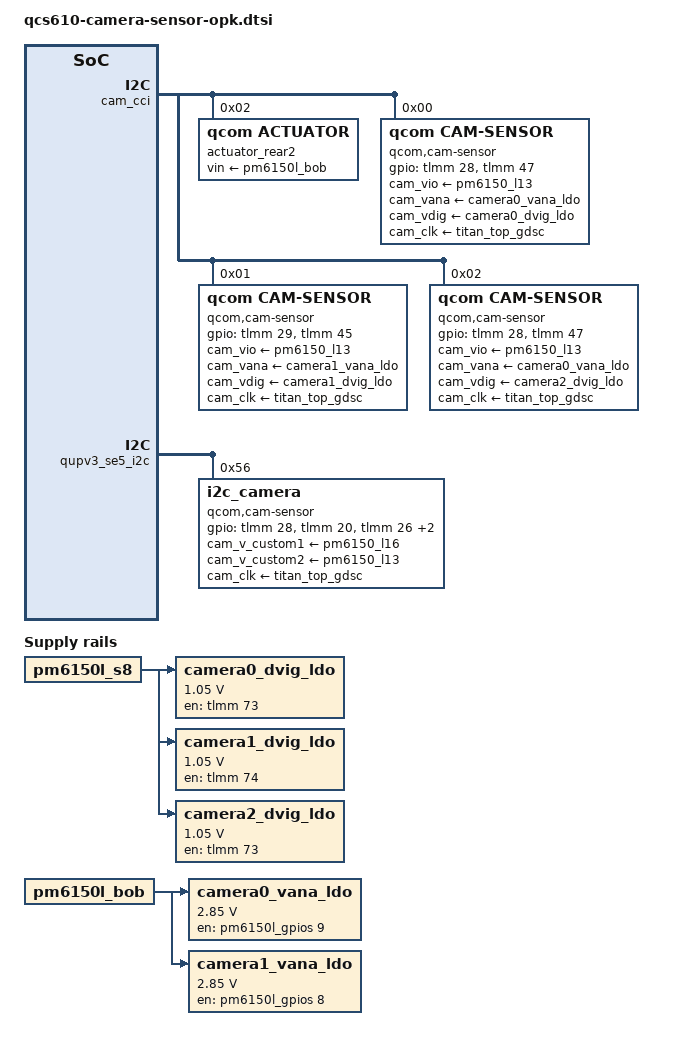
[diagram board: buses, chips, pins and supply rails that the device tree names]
/*
 * Copyright (c) 2021 The Linux Foundation. All rights reserved.
 *
 * This program is free software; you can redistribute it and/or modify
 * it under the terms of the GNU General Public License version 2 and
 * only version 2 as published by the Free Software Foundation.
 *
 * This program is distributed in the hope that it will be useful,
 * but WITHOUT ANY WARRANTY; without even the implied warranty of
 * MERCHANTABILITY or FITNESS FOR A PARTICULAR PURPOSE.  See the
 * GNU General Public License for more details.
 */
&soc {
	camera0_dvig_ldo: gpio-regulator@0 {
		compatible = "regulator-fixed";
		reg = <0x00 0x00>;
		regulator-name = "camera0_dvig_ldo";
		regulator-min-microvolt = <1050000>;
		regulator-max-microvolt = <1050000>;
		regulator-enable-ramp-delay = <233>;
		enable-active-high;
		gpio = <&tlmm 73 0>;
		vin-supply = <&pm6150l_s8>;
	};

	camera0_vana_ldo: gpio-regulator@1 {
		compatible = "regulator-fixed";
		reg = <0x01 0x00>;
		regulator-name = "camera0_vana_ldo";
		regulator-min-microvolt = <2850000>;
		regulator-max-microvolt = <2850000>;
		regulator-enable-ramp-delay = <233>;
		enable-active-high;
		gpio = <&pm6150l_gpios 9 0>;
		pinctrl-names = "default";
		pinctrl-0 = <&cam_sensor_0_vana>;
		vin-supply = <&pm6150l_bob>;
	};

	camera1_dvig_ldo: gpio-regulator@2 {
		compatible = "regulator-fixed";
		reg = <0x02 0x00>;
		regulator-name = "camera1_dvig_ldo";
		regulator-min-microvolt = <1050000>;
		regulator-max-microvolt = <1050000>;
		regulator-enable-ramp-delay = <233>;
		enable-active-high;
		gpio = <&tlmm 74 0>;
		vin-supply = <&pm6150l_s8>;
	};

	camera1_vana_ldo: gpio-regulator@3 {
		compatible = "regulator-fixed";
		reg = <0x03 0x00>;
		regulator-name = "camera1_vana_ldo";
		regulator-min-microvolt = <2850000>;
		regulator-max-microvolt = <2850000>;
		regulator-enable-ramp-delay = <233>;
		enable-active-high;
		gpio = <&pm6150l_gpios 8 0>;
		pinctrl-names = "default";
		pinctrl-0 = <&cam_sensor_1_vana>;
		vin-supply = <&pm6150l_bob>;
	};
	camera2_dvig_ldo: gpio-regulator@4 {
		compatible = "regulator-fixed";
		reg = <0x04 0x00>;
		regulator-name = "camera2_dvig_ldo";
		regulator-min-microvolt = <1050000>;
		regulator-max-microvolt = <1050000>;
		regulator-enable-ramp-delay = <233>;
		enable-active-high;
		gpio = <&tlmm 73 0>;
		vin-supply = <&pm6150l_s8>;
	};
};

&cam_cci {
	actuator_rear2: actuator@2 {
		cell-index = <2>;
		reg = <0x2>;
		compatible = "qcom,actuator";
		cci-master = <0>;
		regulator-names = "cam_vaf";
		rgltr-cntrl-support;
		rgltr-min-voltage = <3800000>;
		rgltr-max-voltage = <3800000>;
		rgltr-load-current = <100000>;
		vin-supply = <&pm6150l_bob>;
		status = "ok";
	};

	qcom,cam-sensor@0 {
		cell-index = <0>;
		compatible = "qcom,cam-sensor";
		reg = <0x0>;
		csiphy-sd-index = <0>;
		sensor-position-roll = <270>;
		sensor-position-pitch = <0>;
		sensor-position-yaw = <0>;
		cam_vio-supply = <&pm6150_l13>;
		cam_vana-supply = <&camera0_vana_ldo>;
		cam_vdig-supply = <&camera0_dvig_ldo>;
		cam_clk-supply = <&titan_top_gdsc>;
		regulator-names = "cam_vio", "cam_vana", "cam_vdig",
			"cam_clk";
		rgltr-cntrl-support;
		rgltr-min-voltage = <1800000 2850000 1050000 0>;
		rgltr-max-voltage = <1800000 2850000 1050000 0>;
		rgltr-load-current = <0 80000 105000 0>;
		gpio-no-mux = <0>;
		pinctrl-names = "cam_default", "cam_suspend";
		pinctrl-0 = <&cam_sensor_mclk0_active
				&cam_sensor_rear_active>;
		pinctrl-1 = <&cam_sensor_mclk0_suspend
				&cam_sensor_rear_suspend>;
		gpios = <&tlmm 28 0>,
			<&tlmm 47 0>;
		gpio-reset = <1>;
		gpio-req-tbl-num = <0 1>;
		gpio-req-tbl-flags = <1 0>;
		gpio-req-tbl-label = "CAMIF_MCLK0",
					"CAM_RESET0";
		sensor-mode = <0>;
		cci-master = <0>;
		status = "okay";
		clocks = <&clock_camcc CAM_CC_MCLK0_CLK>;
		clock-names = "cam_clk";
		clock-cntl-level = "turbo";
		clock-rates = <24000000>;
	};

	qcom,cam-sensor@1 {
		cell-index = <1>;
		compatible = "qcom,cam-sensor";
		reg = <0x1>;
		csiphy-sd-index = <1>;
		sensor-position-roll = <90>;
		sensor-position-pitch = <90>;
		sensor-position-yaw = <0>;
		cam_vio-supply = <&pm6150_l13>;
		cam_vana-supply = <&camera1_vana_ldo>;
		cam_vdig-supply = <&camera1_dvig_ldo>;
		cam_clk-supply = <&titan_top_gdsc>;
		regulator-names = "cam_vdig", "cam_vio", "cam_vana",
			"cam_clk";
		rgltr-cntrl-support;
		rgltr-min-voltage = <1050000 1800000 2850000 0>;
		rgltr-max-voltage = <1050000 1800000 2850000 0>;
		rgltr-load-current = <105000 0 80000 0>;
		gpio-no-mux = <0>;
		pinctrl-names = "cam_default", "cam_suspend";
		pinctrl-0 = <&cam_sensor_mclk1_active
				&cam_sensor_rear1_active>;
		pinctrl-1 = <&cam_sensor_mclk1_suspend
				&cam_sensor_rear1_suspend>;
		gpios = <&tlmm 29 0>,
			<&tlmm 45 0>;
		gpio-reset = <1>;
		gpio-req-tbl-num = <0 1>;
		gpio-req-tbl-flags = <1 0>;
		gpio-req-tbl-label = "CAMIF_MCLK1",
					"CAM_RESET1";
		sensor-mode = <1>;
		cci-master = <1>;
		status = "okay";
		clocks = <&clock_camcc CAM_CC_MCLK1_CLK>;
		clock-names = "cam_clk";
		clock-cntl-level = "turbo";
		clock-rates = <24000000>;
	};

	qcom,cam-sensor@2 {
		cell-index = <2>;
		compatible = "qcom,cam-sensor";
		reg = <0x2>;
		csiphy-sd-index = <0>;
		sensor-position-roll = <90>;
		sensor-position-pitch = <0>;
		sensor-position-yaw = <180>;
		actuator-src = <&actuator_rear2>;
		cam_vio-supply = <&pm6150_l13>;
		cam_vana-supply = <&camera0_vana_ldo>;
		cam_vdig-supply = <&camera2_dvig_ldo>;
		cam_clk-supply = <&titan_top_gdsc>;
		regulator-names = "cam_vio", "cam_vana", "cam_vdig",
			"cam_clk";
		rgltr-cntrl-support;
		rgltr-min-voltage = <1800000 2850000 1050000 0>;
		rgltr-max-voltage = <1800000 2850000 1050000 0>;
		rgltr-load-current = <0 80000 105000 0>;
		gpio-no-mux = <0>;
		pinctrl-names = "cam_default", "cam_suspend";
		pinctrl-0 = <&cam_sensor_mclk2_active
				&cam_sensor_rear2_active>;
		pinctrl-1 = <&cam_sensor_mclk2_suspend
				&cam_sensor_rear2_suspend>;
		gpios = <&tlmm 28 0>,
			<&tlmm 47 0>;
		gpio-reset = <1>;
		gpio-req-tbl-num = <0 1>;
		gpio-req-tbl-flags = <1 0>;
		gpio-req-tbl-label = "CAMIF_MCLK2",
					"CAM_RESET2";
		sensor-mode = <0>;
		cci-master = <0>;
		status = "okay";
		clocks = <&clock_camcc CAM_CC_MCLK0_CLK>;
		clock-names = "cam_clk";
		clock-cntl-level = "turbo";
		clock-rates = <24000000>;
	};
};

&qupv3_se5_i2c {
	status = "ok";
	qcom,clk-freq-out = <100000>;
	qcom,cam-sensor@3 {
		cell-index = <3>;
		compatible = "i2c_camera";
		reg = <0x56>;
		csiphy-sd-index = <1>;
		sensor-position-roll = <0>;
		sensor-position-pitch = <0>;
		sensor-position-yaw = <0>;
		cam_v_custom1-supply = <&pm6150_l16>;
		cam_v_custom2-supply = <&pm6150_l13>;
		cam_clk-supply = <&titan_top_gdsc>;
		regulator-names = "cam_v_custom1","cam_v_custom2", "cam_clk";
		rgltr-cntrl-support;
		rgltr-min-voltage = <3300000 1800000 0>;
		rgltr-max-voltage = <3300000 1800000 0>;
		rgltr-load-current = <330000 180000 0>;
		pinctrl-names = "cam_default", "cam_suspend";

		pinctrl-0 = <&cam_sensor_mclk0_active>;
		pinctrl-1 = <&cam_sensor_mclk0_suspend>;

		gpios = <&tlmm 28 0>,
				<&tlmm 20 0>,
				<&tlmm 26 0>,
				<&tlmm 79 0>,
				<&tlmm 119 0>;
		gpio-reset = <1>;
		gpio-standby = <2>;
		gpio-custom1 = <3>;
		gpio-custom2 = <4>;
		gpio-req-tbl-num = <0 1 2 3 4>;
		gpio-req-tbl-flags = <1 0 0 0 0>;
		gpio-req-tbl-label = "CAMIF_MCLK0",
					"HDMI_RESET0",
					"HDMI_INTRUPT",
					"HDMI_ENABLE_1",
					"HDMI_ENABLE_2";
		status = "ok";
		clocks = <&clock_camcc CAM_CC_MCLK0_CLK>;
		clock-names = "cam_clk";
		clock-cntl-level = "turbo";
		clock-rates = <24000000>;
	};
};

&pm6150l_gpios {
	cam_sensor_dvdd_en: cam_sensor_dvdd_en {
		pins = "gpio3";
		function = "normal";
		power-source = <0>;
		output-low;
	};
	cam_sensor_1_vana: cam_sensor_1_vana {
		pins = "gpio8";
		function = "normal";
		power-source = <0>;
		output-low;
	};
	cam_sensor_0_vana: cam_sensor_0_vana {
		pins = "gpio9";
		function = "normal";
		power-source = <0>;
		output-low;
	};
	cam_sensor_1_2_vana: cam_sensor_1_2_vana {
		pins = "gpio4";
		function = "normal";
		power-source = <0>;
		output-low;

	};
};
